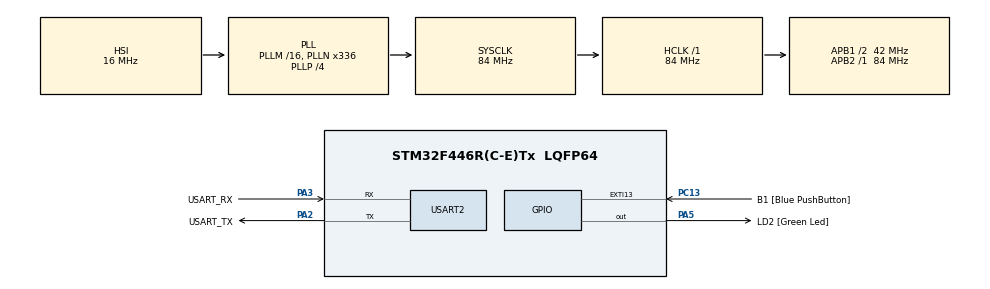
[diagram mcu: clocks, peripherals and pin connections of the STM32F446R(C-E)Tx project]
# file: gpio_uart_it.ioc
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Mcu.Family=STM32F4
Mcu.Name=STM32F446R(C-E)Tx
Mcu.Package=LQFP64
NVIC.PriorityGroup=NVIC_PRIORITYGROUP_0
NVIC.USART2_IRQn=true\:0\:0\:false\:false\:true\:true\:true\:true
PA13.GPIO_Label=TMS
PA13.Mode=Serial_Wire
PA13.Signal=SYS_JTMS-SWDIO
PA14.GPIO_Label=TCK
PA14.Mode=Serial_Wire
PA14.Signal=SYS_JTCK-SWCLK
PA2.GPIO_Label=USART_TX
PA2.Mode=Asynchronous
PA2.Signal=USART2_TX
PA3.GPIO_Label=USART_RX
PA3.Mode=Asynchronous
PA3.Signal=USART2_RX
PA5.GPIO_Label=LD2 [Green Led]
PA5.Signal=GPIO_Output
PB3.GPIO_Label=SWO
PB3.Signal=SYS_JTDO-SWO
PC13.GPIO_Label=B1 [Blue PushButton]
PC13.GPIO_ModeDefaultEXTI=GPIO_MODE_IT_FALLING
PC13.Signal=GPXTI13
PC14-OSC32_IN.Mode=LSE-External-Oscillator
PC14-OSC32_IN.Signal=RCC_OSC32_IN
PC15-OSC32_OUT.Mode=LSE-External-Oscillator
PC15-OSC32_OUT.Signal=RCC_OSC32_OUT
PH0-OSC_IN.Mode=HSE-External-Oscillator
PH0-OSC_IN.Signal=RCC_OSC_IN
PH1-OSC_OUT.Mode=HSE-External-Oscillator
PH1-OSC_OUT.Signal=RCC_OSC_OUT
ProjectManager.HeapSize=0x200
ProjectManager.StackSize=0x400
ProjectManager.TargetToolchain=STM32CubeIDE
RCC.48MHZClocksFreq_Value=84000000
RCC.AHBFreq_Value=84000000
RCC.APB1CLKDivider=RCC_HCLK_DIV2
RCC.APB1Freq_Value=42000000
RCC.APB1TimFreq_Value=84000000
RCC.APB2Freq_Value=84000000
RCC.APB2TimFreq_Value=84000000
RCC.CortexFreq_Value=84000000
RCC.FLatency-AdvancedSettings=FLASH_LATENCY_2
RCC.HCLKFreq_Value=84000000
RCC.HSE_VALUE=8000000
RCC.HSI_VALUE=16000000
RCC.PLLN=336
RCC.PLLP=RCC_PLLP_DIV4
RCC.SYSCLKFreq_VALUE=84000000
RCC.SYSCLKSource=RCC_SYSCLKSOURCE_PLLCLK
RCC.USBFreq_Value=168000000
RCC.VCOOutputFreq_Value=336000000
USART2.VirtualMode=VM_ASYNC
board=NUCLEO-F446RE

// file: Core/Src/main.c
/* USER CODE BEGIN Header */
/**
  ******************************************************************************
  * @file           : main.c
  * @brief          : Main program body
  ******************************************************************************
  * @attention
  *
  * Copyright (c) 2023 STMicroelectronics.
  * All rights reserved.
  *
  * This software is licensed under terms that can be found in the LICENSE file
  * in the root directory of this software component.
  * If no LICENSE file comes with this software, it is provided AS-IS.
  *
  ******************************************************************************
  */
/* USER CODE END Header */
#include "main.h"

/* USER CODE BEGIN Includes */
#include "stdint.h"
#include "string.h"
#include "stdlib.h"
#include "stdio.h"
/* USER CODE END Includes */

UART_HandleTypeDef huart2;

/* USER CODE BEGIN PV */
__IO ITStatus UartReady = RESET;
/* USER CODE END PV */

void SystemClock_Config(void);
static void MX_GPIO_Init(void);
static void MX_USART2_UART_Init(void);
/* USER CODE BEGIN PFP */
void printWelcomeMessage(void);
uint8_t ReadUserInput(void);
uint8_t processUserInput(uint8_t opt);
/* USER CODE END PFP */

/* USER CODE BEGIN 0 */
const uint8_t MAIN_MENU[] =
    "Opciones del Menú:\r\n"
    "1. Toglear led de usuario LD2.\r\n"
    "2. Leer estado del boton de usuario B13.\r\n"
    "3. Limpiar pantalla y saludare al usuario.\r\n";
const uint8_t WELCOME_MSG[]= "Tarea 1: Uso de GPIO y UART con Interrupciones \r\n";
/* USER CODE END 0 */

int main(void)
{

  /* MCU Configuration--------------------------------------------------------*/

  /* Reset of all peripherals, Initializes the Flash interface and the Systick. */
  HAL_Init();

  /* USER CODE BEGIN Init */
  uint8_t opt=0;

  /* USER CODE END Init */

  /* Configure the system clock */
  SystemClock_Config();

  /* Initialize all configured peripherals */
  MX_GPIO_Init();
  MX_USART2_UART_Init();
  /* USER CODE BEGIN 2 */
  HAL_NVIC_EnableIRQ(EXTI15_10_IRQn);
  //HAL_NVIC_EnableIRQ(USART2_IRQn);
  printWelcomeMessage();

  /* USER CODE END 2 */

  /* Infinite loop */
  while (1)
  {

	  opt=ReadUserInput();
	  processUserInput(opt);

  }
}

void SystemClock_Config(void)
{
  RCC_OscInitTypeDef RCC_OscInitStruct = {0};
  RCC_ClkInitTypeDef RCC_ClkInitStruct = {0};

  /** Configure the main internal regulator output voltage
  */
  __HAL_RCC_PWR_CLK_ENABLE();
  __HAL_PWR_VOLTAGESCALING_CONFIG(PWR_REGULATOR_VOLTAGE_SCALE3);

  /** Initializes the RCC Oscillators according to the specified parameters
  * in the RCC_OscInitTypeDef structure.
  */
  RCC_OscInitStruct.OscillatorType = RCC_OSCILLATORTYPE_HSI;
  RCC_OscInitStruct.HSIState = RCC_HSI_ON;
  RCC_OscInitStruct.HSICalibrationValue = RCC_HSICALIBRATION_DEFAULT;
  RCC_OscInitStruct.PLL.PLLState = RCC_PLL_ON;
  RCC_OscInitStruct.PLL.PLLSource = RCC_PLLSOURCE_HSI;
  RCC_OscInitStruct.PLL.PLLM = 16;
  RCC_OscInitStruct.PLL.PLLN = 336;
  RCC_OscInitStruct.PLL.PLLP = RCC_PLLP_DIV4;
  RCC_OscInitStruct.PLL.PLLQ = 2;
  RCC_OscInitStruct.PLL.PLLR = 2;
  if (HAL_RCC_OscConfig(&RCC_OscInitStruct) != HAL_OK)
  {
    Error_Handler();
  }

  /** Initializes the CPU, AHB and APB buses clocks
  */
  RCC_ClkInitStruct.ClockType = RCC_CLOCKTYPE_HCLK|RCC_CLOCKTYPE_SYSCLK
                              |RCC_CLOCKTYPE_PCLK1|RCC_CLOCKTYPE_PCLK2;
  RCC_ClkInitStruct.SYSCLKSource = RCC_SYSCLKSOURCE_PLLCLK;
  RCC_ClkInitStruct.AHBCLKDivider = RCC_SYSCLK_DIV1;
  RCC_ClkInitStruct.APB1CLKDivider = RCC_HCLK_DIV2;
  RCC_ClkInitStruct.APB2CLKDivider = RCC_HCLK_DIV1;

  if (HAL_RCC_ClockConfig(&RCC_ClkInitStruct, FLASH_LATENCY_2) != HAL_OK)
  {
    Error_Handler();
  }
}

static void MX_USART2_UART_Init(void)
{

  huart2.Instance = USART2;
  huart2.Init.BaudRate = 115200;
  huart2.Init.WordLength = UART_WORDLENGTH_8B;
  huart2.Init.StopBits = UART_STOPBITS_1;
  huart2.Init.Parity = UART_PARITY_NONE;
  huart2.Init.Mode = UART_MODE_TX_RX;
  huart2.Init.HwFlowCtl = UART_HWCONTROL_NONE;
  huart2.Init.OverSampling = UART_OVERSAMPLING_16;
  if (HAL_UART_Init(&huart2) != HAL_OK)
  {
    Error_Handler();
  }

}

static void MX_GPIO_Init(void)
{
  GPIO_InitTypeDef GPIO_InitStruct = {0};

  /* GPIO Ports Clock Enable */
  __HAL_RCC_GPIOC_CLK_ENABLE();
  __HAL_RCC_GPIOH_CLK_ENABLE();
  __HAL_RCC_GPIOA_CLK_ENABLE();
  __HAL_RCC_GPIOB_CLK_ENABLE();

  /*Configure GPIO pin Output Level */
  HAL_GPIO_WritePin(LD2_GPIO_Port, LD2_Pin, GPIO_PIN_RESET);

  /*Configure GPIO pin : B1_Pin */
  GPIO_InitStruct.Pin = B1_Pin;
  GPIO_InitStruct.Mode = GPIO_MODE_IT_FALLING;
  GPIO_InitStruct.Pull = GPIO_NOPULL;
  HAL_GPIO_Init(B1_GPIO_Port, &GPIO_InitStruct);

  /*Configure GPIO pin : LD2_Pin */
  GPIO_InitStruct.Pin = LD2_Pin;
  GPIO_InitStruct.Mode = GPIO_MODE_OUTPUT_PP;
  GPIO_InitStruct.Pull = GPIO_NOPULL;
  GPIO_InitStruct.Speed = GPIO_SPEED_FREQ_LOW;
  HAL_GPIO_Init(LD2_GPIO_Port, &GPIO_InitStruct);

}

/* USER CODE BEGIN 4 */
void EXTI15_10_IRQHandler(void) {
	__HAL_GPIO_EXTI_CLEAR_IT(GPIO_PIN_13);
	HAL_GPIO_TogglePin(GPIOA, GPIO_PIN_5);
}

void printWelcomeMessage(void){
	HAL_UART_Transmit(&huart2, (uint8_t*)"\033[0;0H", strlen("\033[0;0H"), HAL_MAX_DELAY);
	HAL_UART_Transmit(&huart2, (uint8_t*)"\033[2J", strlen("\033[2J"), HAL_MAX_DELAY);
	HAL_UART_Transmit(&huart2, (uint8_t*)WELCOME_MSG, strlen((const char*)WELCOME_MSG), HAL_MAX_DELAY);
	HAL_UART_Transmit(&huart2, (uint8_t*)MAIN_MENU, strlen((const char*)MAIN_MENU), HAL_MAX_DELAY);
}

uint8_t ReadUserInput(void)
{
	uint8_t receiveBuf[1];
	HAL_UART_Transmit(&huart2, (uint8_t*)"Ingrese su opcion: \r\n", strlen("Ingrese su opcion: \r\n"), HAL_MAX_DELAY);
	HAL_UART_Receive(&huart2, (uint8_t*)receiveBuf, 1, HAL_MAX_DELAY);
	return atoi((char*)receiveBuf);

}

uint8_t processUserInput(uint8_t opt){
	char msg[100];
	if(!opt || opt > 3)
	{
		return 0;
	}

	sprintf(msg, "%d \r\n", opt); // formateo a entero opt
	HAL_UART_Transmit(&huart2, (uint8_t*)msg, strlen(msg), HAL_MAX_DELAY);

	switch(opt) {
	case 1:
		HAL_GPIO_TogglePin(GPIOA, GPIO_PIN_5);
		break;
	case 2:
		sprintf(msg, "\r\nUSER BUTTON status: %s \r\n",HAL_GPIO_ReadPin(GPIOC, GPIO_PIN_13) == GPIO_PIN_RESET ? "PRESSED" : "RELEASED");
		HAL_UART_Transmit(&huart2, (uint8_t*)msg, strlen(msg), HAL_MAX_DELAY);
		break;
	case 3:
		char rx_buff[20];
		char rx_char;
		uint8_t indice=0;
		HAL_UART_Transmit(&huart2, (uint8_t*)"\033[0;0H", strlen("\033[0;0H"), HAL_MAX_DELAY);
		HAL_UART_Transmit(&huart2, (uint8_t*)"\033[2J", strlen("\033[2J"), HAL_MAX_DELAY);
		HAL_UART_Transmit(&huart2, (uint8_t*)"Ingrese su nombre: \r\n", strlen("Ingrese su nombre: \r\n"), HAL_MAX_DELAY);
		while(1)
		{
			 HAL_UART_Receive(&huart2, (uint8_t*)&rx_char, 1, HAL_MAX_DELAY);
			 HAL_UART_Transmit(&huart2, (uint8_t*)&rx_char, 1, HAL_MAX_DELAY);
			 if(rx_char != '\r') //hasta que se presione enter
			 {
				 rx_buff[indice]=rx_char;
				 indice++;

			 }
			 else
			 {
				 rx_buff[indice]= '\0';
				 break;

			 }

		}
		sprintf(msg,"Hola amigo %s \r\n",rx_buff);
		HAL_UART_Transmit(&huart2, (uint8_t*)msg, strlen(msg), HAL_MAX_DELAY);

		break;
	}
	return 1;
}
/* USER CODE END 4 */

void Error_Handler(void)
{
  __disable_irq();
  while (1)
  {
  }
}
